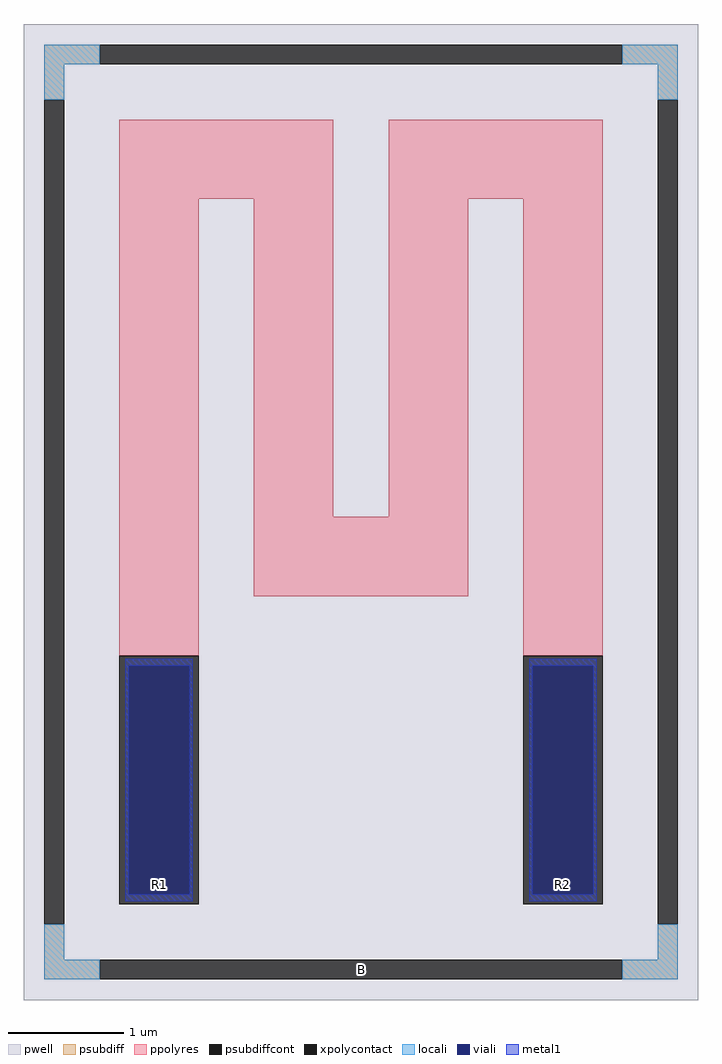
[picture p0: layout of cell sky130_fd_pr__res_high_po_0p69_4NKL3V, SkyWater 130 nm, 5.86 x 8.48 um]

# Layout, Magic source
magic
tech sky130A
magscale 1 2
<< pwell >>
rect -586 -848 586 848
<< psubdiff >>
rect -550 778 -454 812
rect 454 778 550 812
rect -550 716 -516 778
rect 516 716 550 778
rect -550 -778 -516 -716
rect 516 -778 550 -716
rect -550 -812 -454 -778
rect 454 -812 550 -778
<< psubdiffcont >>
rect -454 778 454 812
rect -550 -716 -516 716
rect 516 -716 550 716
rect -454 -812 454 -778
<< xpolycontact >>
rect -420 -682 -282 -250
rect 282 -682 420 -250
<< ppolyres >>
rect -420 544 -48 682
rect -420 -250 -282 544
rect -186 -8 -48 544
rect 48 544 420 682
rect 48 -8 186 544
rect -186 -146 186 -8
rect 282 -250 420 544
<< locali >>
rect -550 778 -454 812
rect 454 778 550 812
rect -550 716 -516 778
rect 516 716 550 778
rect -550 -778 -516 -716
rect 516 -778 550 -716
rect -550 -812 -454 -778
rect 454 -812 550 -778
<< viali >>
rect -404 -664 -298 -267
rect 298 -664 404 -267
<< metal1 >>
rect -410 -267 -292 -255
rect -410 -664 -404 -267
rect -298 -664 -292 -267
rect -410 -676 -292 -664
rect 292 -267 410 -255
rect 292 -664 298 -267
rect 404 -664 410 -267
rect 292 -676 410 -664
<< labels >>
rlabel psubdiffcont 0 -795 0 -795 0 B
port 1 nsew
rlabel xpolycontact -351 -647 -351 -647 0 R1
port 2 nsew
rlabel xpolycontact 351 -647 351 -647 0 R2
port 3 nsew
<< properties >>
string FIXED_BBOX -533 -795 533 795
string gencell sky130_fd_pr__res_high_po_0p69
string library sky130
string parameters w 0.69 l 4.138 m 1 nx 4 wmin 0.690 lmin 0.50 class resistor rho 319.8 val 9.195k dummy 0 dw 0.0 term 194.82 sterm 0.0 caplen 0 guard 1 glc 1 grc 1 gtc 1 gbc 1 compatible {sky130_fd_pr__res_high_po_0p35  sky130_fd_pr__res_high_po_0p69 sky130_fd_pr__res_high_po_1p41  sky130_fd_pr__res_high_po_2p85 sky130_fd_pr__res_high_po_5p73} snake 1 full_metal 1 wmax 0.690 n_guard 0 hv_guard 0 vias 1 viagb 0 viagt 0 viagl 0 viagr 0 doports 1
<< end >>
